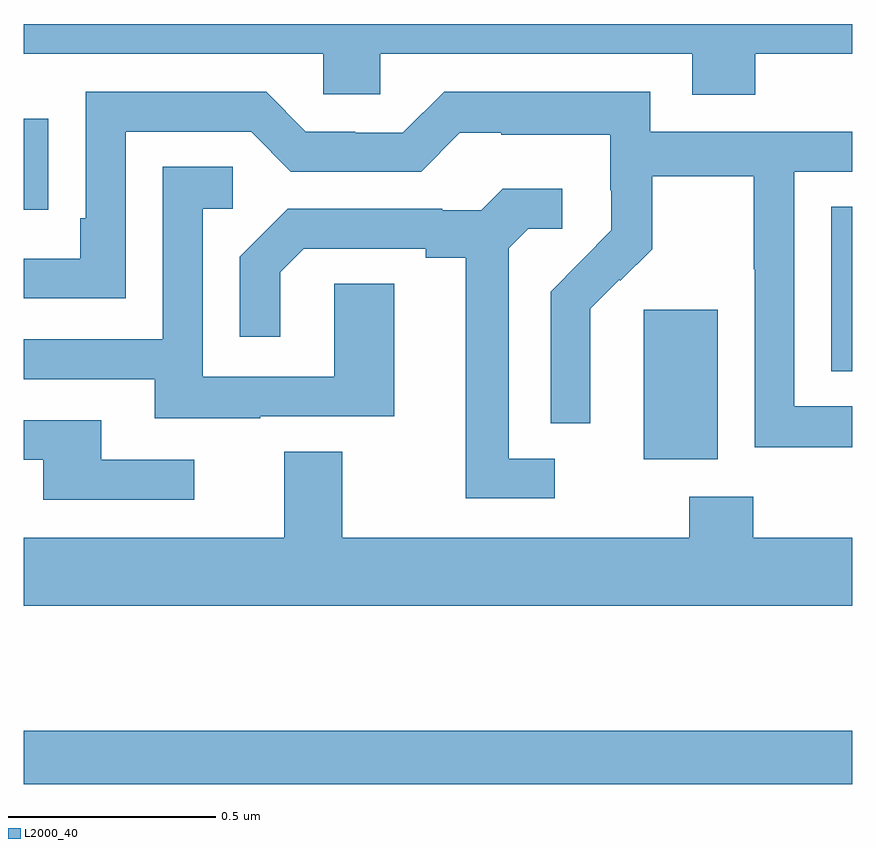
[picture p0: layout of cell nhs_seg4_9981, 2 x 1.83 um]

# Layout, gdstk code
import gdstk
lib = gdstk.Library(unit=1e-6, precision=1e-09)
def R(c, l, rs):  # rectangles x0, y0, x1, y1
    for r in rs: c.add(gdstk.rectangle(r[:2], r[2:], *l))
def P(c, l, *ps):  # polygons
    for p in ps: c.add(gdstk.Polygon(p, *l))
L2000_40 = (2000, 40)

nhs_seg4_9981 = lib.new_cell('nhs_seg4_9981')
R(nhs_seg4_9981, L2000_40, [(234,787.066,236,787.195), (235.496,787.85,235.675,788.211), (235.949,788.062,236,788.459), (234,788.452,234.059,788.671)])
P(nhs_seg4_9981, L2000_40, [(235.766,788.828),(236,788.828),(236,788.9),(234,788.9),(234,788.828),(234.723,788.828),(234.723,788.73),(234.861,788.73),(234.861,788.828),(235.613,788.828),(235.613,788.729),(235.766,788.729)],
  [(236,787.977),(235.86,787.977),(235.86,788.544),(236,788.544),(236,788.64),(235.512,788.64),(235.512,788.737),(235.015,788.737),(234.915,788.637),(234.8,788.637),(234.8,788.64),(234.681,788.64),(234.585,788.736),(234.15,788.736),(234.15,788.431),(234.137,788.431),(234.137,788.334),(234,788.334),(234,788.238),(234.246,788.238),(234.246,788.64),(234.549,788.64),(234.645,788.544),(234.96,788.544),(235.053,788.637),(235.153,788.637),(235.153,788.633),(235.416,788.633),(235.416,788.499),(235.418,788.499),(235.418,788.402),(235.344,788.328),(235.345,788.327),(235.272,788.254),(235.272,787.936),(235.368,787.936),(235.368,788.09),(235.367,788.09),(235.367,788.213),(235.437,788.283),(235.44,788.28),(235.517,788.357),(235.517,788.532),(235.762,788.532),(235.762,788.308),(235.764,788.308),(235.764,787.879),(236,787.879)],
  [(234.571,787.953),(234.895,787.953),(234.895,788.273),(234.75,788.273),(234.75,788.049),(234.432,788.049),(234.432,788.454),(234.505,788.454),(234.505,788.555),(234.336,788.555),(234.336,788.139),(234,788.139),(234,788.043),(234.317,788.043),(234.317,787.949),(234.571,787.949)],
  [(235.282,787.851),(235.171,787.851),(235.171,788.359),(235.218,788.406),(235.3,788.406),(235.3,788.503),(235.156,788.503),(235.104,788.451),(235.01,788.451),(235.01,788.454),(234.638,788.454),(234.522,788.338),(234.522,788.145),(234.619,788.145),(234.619,788.301),(234.676,788.358),(234.971,788.358),(234.971,788.336),(235.067,788.336),(235.067,787.755),(235.282,787.755)],
  [(234.412,787.848),(234.187,787.848),(234.187,787.944),(234,787.944),(234,787.848),(234.047,787.848),(234.047,787.752),(234.412,787.752)],
  [(236,787.66),(235.761,787.66),(235.761,787.759),(235.606,787.759),(235.606,787.66),(234.769,787.66),(234.769,787.868),(234.629,787.868),(234.629,787.66),(234,787.66),(234,787.496),(236,787.496)])

lib.write_gds('nhs_seg4_9981.gds')
